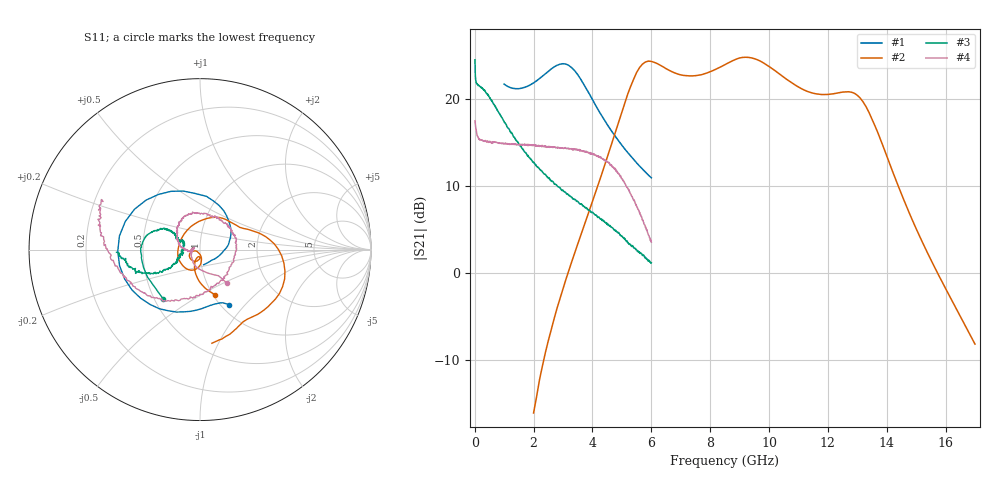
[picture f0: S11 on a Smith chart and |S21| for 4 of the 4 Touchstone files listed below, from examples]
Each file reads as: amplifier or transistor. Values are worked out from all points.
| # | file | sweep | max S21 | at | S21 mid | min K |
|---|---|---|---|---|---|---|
| 1 | QPL9057.s2p | 1 GHz to 6 GHz | 24.1 dB | 3 GHz | 22.9 dB at 3.5 GHz | 1.66 |
| 2 | TGA2598-SM.s2p | 2 GHz to 17 GHz | 24.9 dB | 9.2 GHz | 24.7 dB at 9.5 GHz | 8.56 |
| 3 | TQP3M9007.s2p | 10 MHz to 6 GHz | 24.6 dB | 10 MHz | 9.5 dB at 3.01 GHz | 0.90 |
| 4 | TQP3M9028.s2p | 10 MHz to 6 GHz | 17.5 dB | 10 MHz | 14.4 dB at 3.01 GHz | 0.98 |
